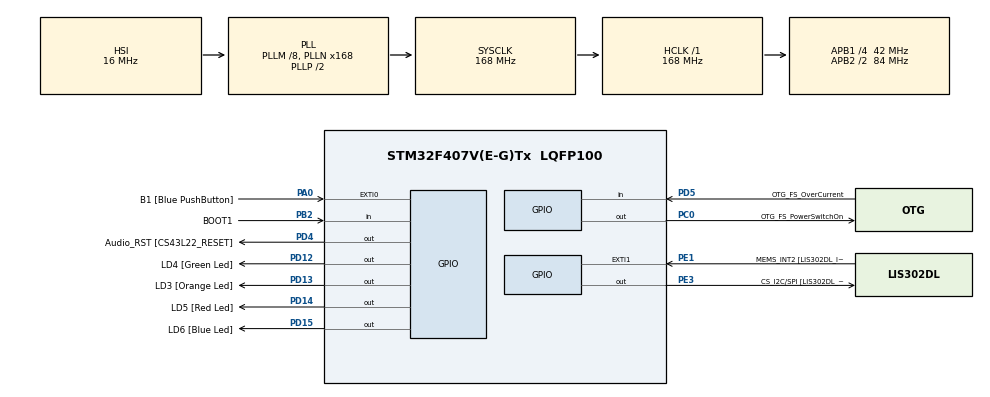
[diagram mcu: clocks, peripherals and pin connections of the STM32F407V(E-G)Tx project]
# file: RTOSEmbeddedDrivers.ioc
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Mcu.Family=STM32F4
Mcu.Name=STM32F407V(E-G)Tx
Mcu.Package=LQFP100
NVIC.PriorityGroup=NVIC_PRIORITYGROUP_4
NVIC.TIM6_DAC_IRQn=true\:0\:0\:false\:false\:true\:false\:true\:true
NVIC.TimeBase=TIM6_DAC_IRQn
NVIC.TimeBaseIP=TIM6
PA0-WKUP.GPIO_Label=B1 [Blue PushButton]
PA0-WKUP.Signal=GPXTI0
PA10.GPIO_Label=OTG_FS_ID
PA10.GPIO_Mode=GPIO_MODE_AF_PP
PA10.GPIO_PuPd=GPIO_NOPULL
PA10.GPIO_Speed=GPIO_SPEED_FREQ_LOW
PA10.Signal=USB_OTG_FS_ID
PA11.GPIO_Label=OTG_FS_DM
PA11.GPIO_Mode=GPIO_MODE_AF_PP
PA11.GPIO_PuPd=GPIO_NOPULL
PA11.GPIO_Speed=GPIO_SPEED_FREQ_LOW
PA11.Signal=USB_OTG_FS_DM
PA12.GPIO_Label=OTG_FS_DP
PA12.GPIO_Mode=GPIO_MODE_AF_PP
PA12.GPIO_PuPd=GPIO_NOPULL
PA12.GPIO_Speed=GPIO_SPEED_FREQ_LOW
PA12.Signal=USB_OTG_FS_DP
PA13.GPIO_Label=SWDIO
PA13.Signal=SYS_JTMS-SWDIO
PA14.GPIO_Label=SWCLK
PA14.Signal=SYS_JTCK-SWCLK
PA4.GPIO_Label=I2S3_WS [CS43L22_LRCK]
PA4.GPIO_Mode=GPIO_MODE_AF_PP
PA4.GPIO_PuPd=GPIO_NOPULL
PA4.GPIO_Speed=GPIO_SPEED_FREQ_LOW
PA4.Signal=I2S3_WS
PA5.GPIO_Label=SPI1_SCK [LIS302DL_SCL/SPC]
PA5.GPIO_Mode=GPIO_MODE_AF_PP
PA5.GPIO_PuPd=GPIO_NOPULL
PA5.GPIO_Speed=GPIO_SPEED_FREQ_LOW
PA5.Signal=SPI1_SCK
PA6.GPIO_Label=SPI1_MISO [LIS302DL_SDO]
PA6.GPIO_Mode=GPIO_MODE_AF_PP
PA6.GPIO_PuPd=GPIO_NOPULL
PA6.GPIO_Speed=GPIO_SPEED_FREQ_LOW
PA6.Signal=SPI1_MISO
PA7.GPIO_Label=SPI1_MOSI [LIS302DL_SDA/SDI/SDO]
PA7.GPIO_Mode=GPIO_MODE_AF_PP
PA7.GPIO_PuPd=GPIO_NOPULL
PA7.GPIO_Speed=GPIO_SPEED_FREQ_LOW
PA7.Signal=SPI1_MOSI
PA9.GPIO_Label=VBUS_FS
PA9.GPIO_Mode=GPIO_MODE_INPUT
PA9.GPIO_PuPd=GPIO_NOPULL
PA9.Signal=USB_OTG_FS_VBUS
PB10.GPIO_Label=CLK_IN [MP45DT02_CLK]
PB10.GPIO_Mode=GPIO_MODE_AF_PP
PB10.GPIO_PuPd=GPIO_NOPULL
PB10.GPIO_Speed=GPIO_SPEED_FREQ_LOW
PB10.Signal=I2S2_CK
PB2.GPIO_Label=BOOT1
PB2.GPIO_Mode=GPIO_MODE_INPUT
PB2.GPIO_PuPd=GPIO_NOPULL
PB2.Signal=GPIO_Input
PB3.GPIO_Label=SWO
PB3.Signal=SYS_JTDO-SWO
PB6.GPIO_Label=Audio_SCL [CS43L22_SCL]
PB6.GPIO_Mode=GPIO_MODE_AF_OD
PB6.GPIO_PuPd=GPIO_NOPULL
PB6.GPIO_Speed=GPIO_SPEED_FREQ_LOW
PB6.Signal=I2C1_SCL
PB9.GPIO_Label=Audio_SDA [CS43L22_SDA]
PB9.GPIO_Mode=GPIO_MODE_AF_OD
PB9.GPIO_PuPd=GPIO_NOPULL
PB9.GPIO_Speed=GPIO_SPEED_FREQ_LOW
PB9.Signal=I2C1_SDA
PC0.GPIO_Label=OTG_FS_PowerSwitchOn
PC0.GPIO_PuPd=GPIO_NOPULL
PC0.GPIO_Speed=GPIO_SPEED_FREQ_LOW
PC0.PinState=GPIO_PIN_SET
PC0.Signal=GPIO_Output
PC10.GPIO_Label=I2S3_SCK [CS43L22_SCLK]
PC10.GPIO_Mode=GPIO_MODE_AF_PP
PC10.GPIO_PuPd=GPIO_NOPULL
PC10.GPIO_Speed=GPIO_SPEED_FREQ_LOW
PC10.Signal=I2S3_CK
PC12.GPIO_Label=I2S3_SD [CS43L22_SDIN]
PC12.GPIO_Mode=GPIO_MODE_AF_PP
PC12.GPIO_PuPd=GPIO_NOPULL
PC12.GPIO_Speed=GPIO_SPEED_FREQ_LOW
PC12.Signal=I2S3_SD
PC14-OSC32_IN.GPIO_Label=PC14-OSC32_IN
PC14-OSC32_IN.Signal=RCC_OSC32_IN
PC15-OSC32_OUT.GPIO_Label=PC15-OSC32_OUT
PC15-OSC32_OUT.Signal=RCC_OSC32_OUT
PC3.GPIO_Label=PDM_OUT [MP45DT02_DOUT]
PC3.GPIO_Mode=GPIO_MODE_AF_PP
PC3.GPIO_PuPd=GPIO_NOPULL
PC3.GPIO_Speed=GPIO_SPEED_FREQ_LOW
PC3.Signal=I2S2_SD
PC7.GPIO_Label=I2S3_MCK [CS43L22_MCLK]
PC7.GPIO_Mode=GPIO_MODE_AF_PP
PC7.GPIO_PuPd=GPIO_NOPULL
PC7.GPIO_Speed=GPIO_SPEED_FREQ_LOW
PC7.Signal=I2S3_MCK
PD12.GPIO_Label=LD4 [Green Led]
PD12.GPIO_PuPd=GPIO_NOPULL
PD12.GPIO_Speed=GPIO_SPEED_FREQ_LOW
PD12.Signal=GPIO_Output
PD13.GPIO_Label=LD3 [Orange Led]
PD13.GPIO_PuPd=GPIO_NOPULL
PD13.GPIO_Speed=GPIO_SPEED_FREQ_LOW
PD13.Signal=GPIO_Output
PD14.GPIO_Label=LD5 [Red Led]
PD14.GPIO_PuPd=GPIO_NOPULL
PD14.GPIO_Speed=GPIO_SPEED_FREQ_LOW
PD14.Signal=GPIO_Output
PD15.GPIO_Label=LD6 [Blue Led]
PD15.GPIO_PuPd=GPIO_NOPULL
PD15.GPIO_Speed=GPIO_SPEED_FREQ_LOW
PD15.Signal=GPIO_Output
PD4.GPIO_Label=Audio_RST [CS43L22_RESET]
PD4.GPIO_PuPd=GPIO_NOPULL
PD4.GPIO_Speed=GPIO_SPEED_FREQ_LOW
PD4.Signal=GPIO_Output
PD5.GPIO_Label=OTG_FS_OverCurrent
PD5.GPIO_Mode=GPIO_MODE_INPUT
PD5.GPIO_PuPd=GPIO_NOPULL
PD5.Signal=GPIO_Input
PE1.GPIO_Label=MEMS_INT2 [LIS302DL_INT2]
PE1.GPIO_ModeDefaultEXTI=GPIO_MODE_EVT_RISING
PE1.GPIO_PuPd=GPIO_NOPULL
PE1.Signal=GPXTI1
PE3.GPIO_Label=CS_I2C/SPI [LIS302DL_CS_I2C/SPI]
PE3.GPIO_PuPd=GPIO_NOPULL
PE3.GPIO_Speed=GPIO_SPEED_FREQ_LOW
PE3.Signal=GPIO_Output
PH0-OSC_IN.GPIO_Label=PH0-OSC_IN
PH0-OSC_IN.Signal=RCC_OSC_IN
PH1-OSC_OUT.GPIO_Label=PH1-OSC_OUT
PH1-OSC_OUT.Signal=RCC_OSC_OUT
ProjectManager.HeapSize=0x200
ProjectManager.StackSize=0x400
ProjectManager.TargetToolchain=STM32CubeIDE
RCC.48MHZClocksFreq_Value=48000000
RCC.AHBFreq_Value=168000000
RCC.APB1CLKDivider=RCC_HCLK_DIV4
RCC.APB1Freq_Value=42000000
RCC.APB1TimFreq_Value=84000000
RCC.APB2CLKDivider=RCC_HCLK_DIV2
RCC.APB2Freq_Value=84000000
RCC.APB2TimFreq_Value=168000000
RCC.CortexFreq_Value=168000000
RCC.HCLKFreq_Value=168000000
RCC.HSE_VALUE=8000000
RCC.HSI_VALUE=16000000
RCC.LSE_VALUE=32768
RCC.PLLM=8
RCC.PLLN=168
RCC.PLLQ=7
RCC.SYSCLKFreq_VALUE=168000000
RCC.SYSCLKSource=RCC_SYSCLKSOURCE_PLLCLK
RCC.VCOOutputFreq_Value=336000000
VP_SYS_VS_tim6.Mode=TIM6
board=STM32F407G-DISC1

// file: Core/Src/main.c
/* USER CODE BEGIN Header */
/**
  ******************************************************************************
  * @file           : main.c
  * @brief          : Main program body
  ******************************************************************************
  * @attention
  *
  * Copyright (c) 2023 STMicroelectronics.
  * All rights reserved.
  *
  * This software is licensed under terms that can be found in the LICENSE file
  * in the root directory of this software component.
  * If no LICENSE file comes with this software, it is provided AS-IS.
  *
  ******************************************************************************
  */
/* USER CODE END Header */
#include "main.h"

/* USER CODE BEGIN PV */
#define DWT_CTRL 	(volatile uint32_t *)0xE0001000
#define MAX_LEN 	500

#define UDG 0 // "user defined graphics"
char udg[] = { 0x00, 0x00, 0x0a, 0x00, 0x11, 0x0e, 0x00, 0x00 };

#define MAX_LEN 500

char RcvBuff[MAX_LEN] = {1,1,1,1,1,1,1,1,1,1,1,1,1,1,1,1,1,1,1,1,1,1,1,1,1,1,1,1,1,1,1,1,1,1,1,1,1,1,1,1,1,1,1,1};

uint8_t ReadByte;
uint8_t rxComplete = 0;
SPI_Handle_t spiISRHandle;
HD44780 lcd;
TaskHandle_t task_handle;
/* USER CODE END PV */

void SystemClock_Config(void);
static void MX_GPIO_Init(void);
/* USER CODE BEGIN PFP */
static void onSPIDataRecvTask(void *parameters);
static void SPI_GPIOBInit(void);
static SPI_Handle_t SPI2_Init(void);

extern void SEGGER_UART_init(uint32_t);
/* USER CODE END PFP */

int main(void)
{
  /* USER CODE BEGIN 1 */
  BaseType_t status;
  /* USER CODE END 1 */

  /* MCU Configuration--------------------------------------------------------*/

  /* Reset of all peripherals, Initializes the Flash interface and the Systick. */
  HAL_Init();

  /* Configure the system clock */
  SystemClock_Config();

  /* Initialize all configured peripherals */
  MX_GPIO_Init();
  /* USER CODE BEGIN 2 */

  // Initialize some GPIO B pins for SPI
  SPI_GPIOBInit();
  __NVIC_EnableIRQ(SPI2_IRQn); // core_cm4.h, stm32f407xx.h
  __NVIC_SetPriority(SPI2_IRQn, 0x05); // stm32 uses 4 bits for priority
//  __NVIC_SetVector(SPI2_IRQn, (uint32_t)&SPI_ISR); // update the NVIC to execute SPI_ISR on SPI interrupts

  // Enable the CYCCNT (cycle count) register
  *DWT_CTRL |= (1 << 0);

  SEGGER_UART_init(115200);

  SEGGER_SYSVIEW_Conf();

  spiISRHandle = SPI2_Init();
  spiISRHandle.pSPIx->CR2 |= ( 1 << SPI_CR2_RXNEIE_Pos );

//  SPI_RecvDataIT(&spiISRHandle, &ReadByte, 1);
  status = xTaskCreate(onSPIDataRecvTask, "spi_rx_handler", 200, NULL, 2, &task_handle);
  configASSERT(status == pdPASS);

  lcd.rs_gpio = GPIOE;
  lcd.rw_gpio = GPIOE;
  lcd.en_gpio = GPIOE;
  lcd.d4_gpio = GPIOE;
  lcd.d5_gpio = GPIOE;
  lcd.d6_gpio = GPIOE;
  lcd.d7_gpio = GPIOE;
  lcd.rs_pin = GPIO_PIN_7;
  lcd.rw_pin = GPIO_PIN_8;
  lcd.en_pin = GPIO_PIN_9;
  lcd.d4_pin = GPIO_PIN_10;
  lcd.d5_pin = GPIO_PIN_11;
  lcd.d6_pin = GPIO_PIN_12;
  lcd.d7_pin = GPIO_PIN_13;
  lcd.interface_8_bit = false;
  lcd.single_line = false;
  lcd.font_5x10 = false;

  HD44780_init(&lcd);

  HD44780_put_str(&lcd, "TEST!!!");

  vTaskStartScheduler();
//
  /* USER CODE END 2 */

  /* Infinite loop */
  while (1)
  {

  }
}

void SystemClock_Config(void)
{
  RCC_OscInitTypeDef RCC_OscInitStruct = {0};
  RCC_ClkInitTypeDef RCC_ClkInitStruct = {0};

  /** Configure the main internal regulator output voltage
  */
  __HAL_RCC_PWR_CLK_ENABLE();
  __HAL_PWR_VOLTAGESCALING_CONFIG(PWR_REGULATOR_VOLTAGE_SCALE1);

  /** Initializes the RCC Oscillators according to the specified parameters
  * in the RCC_OscInitTypeDef structure.
  */
  RCC_OscInitStruct.OscillatorType = RCC_OSCILLATORTYPE_HSI;
  RCC_OscInitStruct.HSIState = RCC_HSI_ON;
  RCC_OscInitStruct.HSICalibrationValue = RCC_HSICALIBRATION_DEFAULT;
  RCC_OscInitStruct.PLL.PLLState = RCC_PLL_ON;
  RCC_OscInitStruct.PLL.PLLSource = RCC_PLLSOURCE_HSI;
  RCC_OscInitStruct.PLL.PLLM = 8;
  RCC_OscInitStruct.PLL.PLLN = 168;
  RCC_OscInitStruct.PLL.PLLP = RCC_PLLP_DIV2;
  RCC_OscInitStruct.PLL.PLLQ = 7;
  if (HAL_RCC_OscConfig(&RCC_OscInitStruct) != HAL_OK)
  {
    Error_Handler();
  }

  /** Initializes the CPU, AHB and APB buses clocks
  */
  RCC_ClkInitStruct.ClockType = RCC_CLOCKTYPE_HCLK|RCC_CLOCKTYPE_SYSCLK
                              |RCC_CLOCKTYPE_PCLK1|RCC_CLOCKTYPE_PCLK2;
  RCC_ClkInitStruct.SYSCLKSource = RCC_SYSCLKSOURCE_PLLCLK;
  RCC_ClkInitStruct.AHBCLKDivider = RCC_SYSCLK_DIV1;
  RCC_ClkInitStruct.APB1CLKDivider = RCC_HCLK_DIV4;
  RCC_ClkInitStruct.APB2CLKDivider = RCC_HCLK_DIV2;

  if (HAL_RCC_ClockConfig(&RCC_ClkInitStruct, FLASH_LATENCY_5) != HAL_OK)
  {
    Error_Handler();
  }
}

static void MX_GPIO_Init(void)
{
  GPIO_InitTypeDef GPIO_InitStruct = {0};

  /* GPIO Ports Clock Enable */
  __HAL_RCC_GPIOE_CLK_ENABLE();
  __HAL_RCC_GPIOC_CLK_ENABLE();
  __HAL_RCC_GPIOH_CLK_ENABLE();
  __HAL_RCC_GPIOA_CLK_ENABLE();
  __HAL_RCC_GPIOB_CLK_ENABLE();
  __HAL_RCC_GPIOD_CLK_ENABLE();

  /*Configure GPIO pin Output Level */
  HAL_GPIO_WritePin(CS_I2C_SPI_GPIO_Port, CS_I2C_SPI_Pin, GPIO_PIN_RESET);

  /*Configure GPIO pin Output Level */
  HAL_GPIO_WritePin(OTG_FS_PowerSwitchOn_GPIO_Port, OTG_FS_PowerSwitchOn_Pin, GPIO_PIN_SET);

  /*Configure GPIO pin Output Level */
  HAL_GPIO_WritePin(GPIOD, LD4_Pin|LD3_Pin|LD5_Pin|LD6_Pin
                          |Audio_RST_Pin, GPIO_PIN_RESET);

  /*Configure GPIO pin : CS_I2C_SPI_Pin */
  GPIO_InitStruct.Pin = CS_I2C_SPI_Pin;
  GPIO_InitStruct.Mode = GPIO_MODE_OUTPUT_PP;
  GPIO_InitStruct.Pull = GPIO_NOPULL;
  GPIO_InitStruct.Speed = GPIO_SPEED_FREQ_LOW;
  HAL_GPIO_Init(CS_I2C_SPI_GPIO_Port, &GPIO_InitStruct);

  /*Configure GPIO pin : OTG_FS_PowerSwitchOn_Pin */
  GPIO_InitStruct.Pin = OTG_FS_PowerSwitchOn_Pin;
  GPIO_InitStruct.Mode = GPIO_MODE_OUTPUT_PP;
  GPIO_InitStruct.Pull = GPIO_NOPULL;
  GPIO_InitStruct.Speed = GPIO_SPEED_FREQ_LOW;
  HAL_GPIO_Init(OTG_FS_PowerSwitchOn_GPIO_Port, &GPIO_InitStruct);

  /*Configure GPIO pin : PDM_OUT_Pin */
  GPIO_InitStruct.Pin = PDM_OUT_Pin;
  GPIO_InitStruct.Mode = GPIO_MODE_AF_PP;
  GPIO_InitStruct.Pull = GPIO_NOPULL;
  GPIO_InitStruct.Speed = GPIO_SPEED_FREQ_LOW;
  GPIO_InitStruct.Alternate = GPIO_AF5_SPI2;
  HAL_GPIO_Init(PDM_OUT_GPIO_Port, &GPIO_InitStruct);

  /*Configure GPIO pin : B1_Pin */
  GPIO_InitStruct.Pin = B1_Pin;
  GPIO_InitStruct.Mode = GPIO_MODE_IT_RISING;
  GPIO_InitStruct.Pull = GPIO_NOPULL;
  HAL_GPIO_Init(B1_GPIO_Port, &GPIO_InitStruct);

  /*Configure GPIO pin : I2S3_WS_Pin */
  GPIO_InitStruct.Pin = I2S3_WS_Pin;
  GPIO_InitStruct.Mode = GPIO_MODE_AF_PP;
  GPIO_InitStruct.Pull = GPIO_NOPULL;
  GPIO_InitStruct.Speed = GPIO_SPEED_FREQ_LOW;
  GPIO_InitStruct.Alternate = GPIO_AF6_SPI3;
  HAL_GPIO_Init(I2S3_WS_GPIO_Port, &GPIO_InitStruct);

  /*Configure GPIO pins : SPI1_SCK_Pin SPI1_MISO_Pin SPI1_MOSI_Pin */
  GPIO_InitStruct.Pin = SPI1_SCK_Pin|SPI1_MISO_Pin|SPI1_MOSI_Pin;
  GPIO_InitStruct.Mode = GPIO_MODE_AF_PP;
  GPIO_InitStruct.Pull = GPIO_NOPULL;
  GPIO_InitStruct.Speed = GPIO_SPEED_FREQ_LOW;
  GPIO_InitStruct.Alternate = GPIO_AF5_SPI1;
  HAL_GPIO_Init(GPIOA, &GPIO_InitStruct);

  /*Configure GPIO pin : BOOT1_Pin */
  GPIO_InitStruct.Pin = BOOT1_Pin;
  GPIO_InitStruct.Mode = GPIO_MODE_INPUT;
  GPIO_InitStruct.Pull = GPIO_NOPULL;
  HAL_GPIO_Init(BOOT1_GPIO_Port, &GPIO_InitStruct);

  /*Configure GPIO pin : CLK_IN_Pin */
  GPIO_InitStruct.Pin = CLK_IN_Pin;
  GPIO_InitStruct.Mode = GPIO_MODE_AF_PP;
  GPIO_InitStruct.Pull = GPIO_NOPULL;
  GPIO_InitStruct.Speed = GPIO_SPEED_FREQ_LOW;
  GPIO_InitStruct.Alternate = GPIO_AF5_SPI2;
  HAL_GPIO_Init(CLK_IN_GPIO_Port, &GPIO_InitStruct);

  /*Configure GPIO pins : LD4_Pin LD3_Pin LD5_Pin LD6_Pin
                           Audio_RST_Pin */
  GPIO_InitStruct.Pin = LD4_Pin|LD3_Pin|LD5_Pin|LD6_Pin
                          |Audio_RST_Pin;
  GPIO_InitStruct.Mode = GPIO_MODE_OUTPUT_PP;
  GPIO_InitStruct.Pull = GPIO_NOPULL;
  GPIO_InitStruct.Speed = GPIO_SPEED_FREQ_LOW;
  HAL_GPIO_Init(GPIOD, &GPIO_InitStruct);

  /*Configure GPIO pins : I2S3_MCK_Pin I2S3_SCK_Pin I2S3_SD_Pin */
  GPIO_InitStruct.Pin = I2S3_MCK_Pin|I2S3_SCK_Pin|I2S3_SD_Pin;
  GPIO_InitStruct.Mode = GPIO_MODE_AF_PP;
  GPIO_InitStruct.Pull = GPIO_NOPULL;
  GPIO_InitStruct.Speed = GPIO_SPEED_FREQ_LOW;
  GPIO_InitStruct.Alternate = GPIO_AF6_SPI3;
  HAL_GPIO_Init(GPIOC, &GPIO_InitStruct);

  /*Configure GPIO pin : VBUS_FS_Pin */
  GPIO_InitStruct.Pin = VBUS_FS_Pin;
  GPIO_InitStruct.Mode = GPIO_MODE_INPUT;
  GPIO_InitStruct.Pull = GPIO_NOPULL;
  HAL_GPIO_Init(VBUS_FS_GPIO_Port, &GPIO_InitStruct);

  /*Configure GPIO pins : OTG_FS_ID_Pin OTG_FS_DM_Pin OTG_FS_DP_Pin */
  GPIO_InitStruct.Pin = OTG_FS_ID_Pin|OTG_FS_DM_Pin|OTG_FS_DP_Pin;
  GPIO_InitStruct.Mode = GPIO_MODE_AF_PP;
  GPIO_InitStruct.Pull = GPIO_NOPULL;
  GPIO_InitStruct.Speed = GPIO_SPEED_FREQ_LOW;
  GPIO_InitStruct.Alternate = GPIO_AF10_OTG_FS;
  HAL_GPIO_Init(GPIOA, &GPIO_InitStruct);

  /*Configure GPIO pin : OTG_FS_OverCurrent_Pin */
  GPIO_InitStruct.Pin = OTG_FS_OverCurrent_Pin;
  GPIO_InitStruct.Mode = GPIO_MODE_INPUT;
  GPIO_InitStruct.Pull = GPIO_NOPULL;
  HAL_GPIO_Init(OTG_FS_OverCurrent_GPIO_Port, &GPIO_InitStruct);

  /*Configure GPIO pins : Audio_SCL_Pin Audio_SDA_Pin */
  GPIO_InitStruct.Pin = Audio_SCL_Pin|Audio_SDA_Pin;
  GPIO_InitStruct.Mode = GPIO_MODE_AF_OD;
  GPIO_InitStruct.Pull = GPIO_NOPULL;
  GPIO_InitStruct.Speed = GPIO_SPEED_FREQ_LOW;
  GPIO_InitStruct.Alternate = GPIO_AF4_I2C1;
  HAL_GPIO_Init(GPIOB, &GPIO_InitStruct);

  /*Configure GPIO pin : MEMS_INT2_Pin */
  GPIO_InitStruct.Pin = MEMS_INT2_Pin;
  GPIO_InitStruct.Mode = GPIO_MODE_EVT_RISING;
  GPIO_InitStruct.Pull = GPIO_NOPULL;
  HAL_GPIO_Init(MEMS_INT2_GPIO_Port, &GPIO_InitStruct);

}

/* USER CODE BEGIN 4 */

static void onSPIDataRecvTask(void *parameters)
{
	uint32_t ulNotifiedValue;
	for ( ;; )
	{
		xTaskNotifyWait(0, 0x00, &ulNotifiedValue, portMAX_DELAY);

		if (ulNotifiedValue & 0x01)
		{
			HD44780_clear(&lcd);
			HD44780_return_home(&lcd);
			for (uint8_t i = 1; i <= strlen((const char *)RcvBuff); ++i)
			{
				vTaskDelay(pdMS_TO_TICKS(1));
				HD44780_put_char(&lcd, RcvBuff[i-1]);
				vTaskDelay(pdMS_TO_TICKS(1));
				HD44780_cursor_to(&lcd, i % 16, i / 16);
			}
			xTaskNotifyStateClear(NULL);
			ulTaskNotifyValueClear(NULL, 0x01);
		}
	}
}

/**
 * \brief Update pinmux settings to mode 5 for the following GPIO pins to use SPI2:
 * 			PB14 -> SPI2 MISO
 * 			PB15 -> SPI2 MOSI
 * 			PB13 -> SPI2 SCLK
 * 			PB12 -> SPI2 NSS
 *
 */
static void SPI_GPIOBInit(void)
{
	GPIO_Handle_t SPI_GPIOs;

	SPI_GPIOs.pGPIOx = GPIOB;
	SPI_GPIOs.GPIO_PinConfig.GPIO_PinMode = GPIO_MODE_ALTFN;
	SPI_GPIOs.GPIO_PinConfig.GPIO_PinAltFunMode = 5u;
	SPI_GPIOs.GPIO_PinConfig.GPIO_PinOPType = GPIO_OP_TYPE_PP; 		// output type is push-pull
	SPI_GPIOs.GPIO_PinConfig.GPIO_PinPuPdControl = GPIO_NO_PUPD;	// No pull-up/pull-down
	SPI_GPIOs.GPIO_PinConfig.GPIO_PinSpeed = GPOI_SPEED_VFAST_;

	// NSS pin
	SPI_GPIOs.GPIO_PinConfig.GPIO_PinNumber = GPIO_PIN_NO_12;
	GPIO_Init(&SPI_GPIOs);

	// SCLK pin
	SPI_GPIOs.GPIO_PinConfig.GPIO_PinNumber = GPIO_PIN_NO_13;
	GPIO_Init(&SPI_GPIOs);

	// MISO pin
	SPI_GPIOs.GPIO_PinConfig.GPIO_PinNumber = GPIO_PIN_NO_14;
	GPIO_Init(&SPI_GPIOs);

	// MOSI pin
	SPI_GPIOs.GPIO_PinConfig.GPIO_PinNumber = GPIO_PIN_NO_15;
	GPIO_Init(&SPI_GPIOs);
}

static SPI_Handle_t SPI2_Init(void)
{
	SPI_Handle_t SPI2Handle;
	SPI2Handle.pSPIx = SPI2;
	SPI2Handle.SPIConfig.BusConfig = SPI_BUS_CONFIG_FD;
	SPI2Handle.SPIConfig.DeviceMode = SPI_SLAVE_MODE;
	SPI2Handle.SPIConfig.SCLKDiv = SPI_SCLK_SPD_DIV2;
	SPI2Handle.SPIConfig.DFF = SPI_DFF_8BIT;
	SPI2Handle.SPIConfig.CPOL = SPI_CPOL_LOW;
	SPI2Handle.SPIConfig.CPHA = SPI_CPHA_FIRST;
	SPI2Handle.SPIConfig.SSM = SPI_SSM_EN;
	SPI2Handle.SPIConfig.SSI = DISABLE; // set SSM to 1 this bit to 0 for software slave select

	SPI2Handle.RxLen = SPI_RX_MSG_LEN_BYTES;
	SPI2Handle.TxLen = SPI_TX_MSG_LEN_BYTES;
	SPI2Handle.pRxBuffer = &ReadByte;

	SPI_Init(&SPI2Handle);
	SPI_PeripheralToggle(SPI2, ENABLE);
	return SPI2Handle;
}

__attribute__((weak)) void SPI_ApplicationEventCallback(SPI_Handle_t *pSPIHandle, uint8_t AppEv)
{

	static uint32_t i = 0;
	if(AppEv == SPI_EVENT_RX_CMPLT)
	{
		RcvBuff[i++] = ReadByte;
		if(ReadByte == '\0' || ( i == MAX_LEN)){
			RcvBuff[i-1] = '\0';
			i = 0;
			rxComplete = 1;
		}
	}}

/* USER CODE END 4 */

void HAL_TIM_PeriodElapsedCallback(TIM_HandleTypeDef *htim)
{
  if (htim->Instance == TIM6) {
    HAL_IncTick();
  }
}

void Error_Handler(void)
{
  __disable_irq();
  while (1)
  {
  }
}
